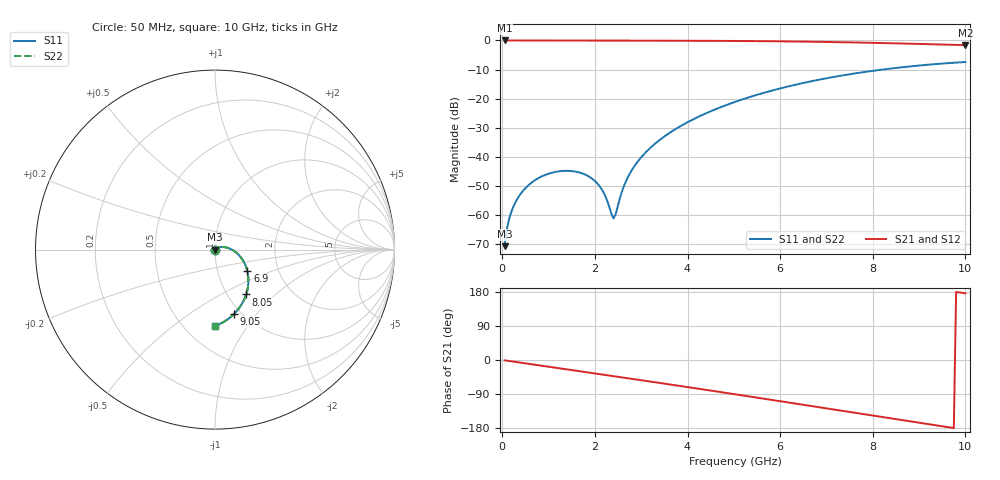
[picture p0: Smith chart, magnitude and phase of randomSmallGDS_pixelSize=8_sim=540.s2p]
! freq	dB(S11)	phase(S11)	dB(S12)	phase(S12)
!  dB(S21)	phase(S21)	dB(S22)	phase(S22)
!S-par simulation data
#  GHz  S  DB  R 50
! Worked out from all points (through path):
!   200 points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, 50 MHz to 10 GHz, reference 50 ohm
!   highest |S21| = 0.00 dB at 50 MHz (marker M1); lowest = -1.6 dB at 10 GHz (marker M2)
!   group delay of S21, straight-line fit = 51.4 ps
!   lowest |S11| = -70.7 dB at 50 MHz (marker M3), VSWR 1.00, Z = 50 - j0.0289 ohm
!   |S11| at or under -10 dB: start of sweep to 8.211 GHz
!   |S22| runs from -70.7 to -7.4 dB; largest |S21 - S12| = 0
!   S11 on the Smith chart (normalised r, x): 50 MHz: 1.00, -0.00; 6.9 GHz: 1.39, -0.35; 8.05 GHz: 1.22, -0.67; 9.05 GHz: 0.93, -0.77; 10 GHz: 0.69, -0.72
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0.05  -70.72 -83.0  -0.00 -0.9  -0.00 -0.9  -70.72 -83.0
0.1  -64.74 -87.2  -0.00 -1.8  -0.00 -1.8  -64.74 -87.1
0.2  -58.69 -90.1  -0.00 -3.6  -0.00 -3.6  -58.70 -90.1
0.35  -53.81 -93.1  -0.01 -6.3  -0.01 -6.3  -53.80 -93.1
0.55  -49.98 -97.3  -0.01 -9.8  -0.01 -9.8  -49.98 -97.2
1.15  -45.17 -110.7  -0.03 -20.4  -0.03 -20.4  -45.17 -110.5
1.75  -45.84 -125.4  -0.04 -31.0  -0.04 -31.0  -45.84 -125.1
2.15  -51.24 -142.4  -0.05 -38.1  -0.05 -38.1  -51.26 -141.5
2.4  -61.17 144.6  -0.05 -42.6  -0.05 -42.6  -61.69 145.4
2.45  -59.75 107.0  -0.05 -43.5  -0.05 -43.5  -60.18 105.6
2.6  -51.18 65.2  -0.06 -46.2  -0.06 -46.2  -51.26 64.0
2.75  -45.86 53.8  -0.06 -48.8  -0.06 -48.8  -45.90 53.1
3  -40.16 44.3  -0.07 -53.3  -0.07 -53.3  -40.17 43.9
3.4  -34.18 34.3  -0.08 -60.5  -0.08 -60.5  -34.19 34.0
4.1  -27.29 19.9  -0.11 -73.3  -0.11 -73.3  -27.29 19.7
5.05  -20.99 1.6  -0.18 -90.9  -0.18 -90.9  -20.99 1.4
6.7  -13.94 -29.8  -0.44 -122.1  -0.44 -122.1  -13.94 -29.9
6.9  -13.30 -33.6  -0.49 -125.9  -0.49 -125.9  -13.30 -33.7
8.05  -10.33 -55.2  -0.83 -147.8  -0.83 -147.8  -10.34 -55.3
8.35  -9.73 -60.7  -0.94 -153.5  -0.94 -153.5  -9.73 -60.8
9.05  -8.55 -73.5  -1.21 -166.6  -1.21 -166.6  -8.55 -73.5
10  -7.41 -90.2  -1.61 175.9  -1.61 175.9  -7.41 -90.3
